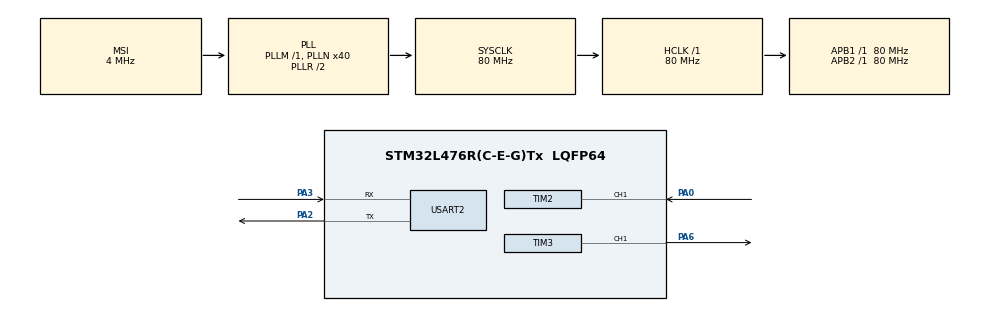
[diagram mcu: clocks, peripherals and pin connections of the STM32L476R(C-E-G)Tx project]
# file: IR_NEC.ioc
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Dma.Request0=TIM3_CH1/TRIG
Dma.TIM3_CH1/TRIG.0.Direction=DMA_MEMORY_TO_PERIPH
Dma.TIM3_CH1/TRIG.0.Instance=DMA1_Channel6
Dma.TIM3_CH1/TRIG.0.MemDataAlignment=DMA_MDATAALIGN_BYTE
Dma.TIM3_CH1/TRIG.0.MemInc=DMA_MINC_ENABLE
Dma.TIM3_CH1/TRIG.0.Mode=DMA_NORMAL
Dma.TIM3_CH1/TRIG.0.PeriphDataAlignment=DMA_PDATAALIGN_HALFWORD
Dma.TIM3_CH1/TRIG.0.PeriphInc=DMA_PINC_DISABLE
Dma.TIM3_CH1/TRIG.0.Priority=DMA_PRIORITY_LOW
Mcu.Family=STM32L4
Mcu.Name=STM32L476R(C-E-G)Tx
Mcu.Package=LQFP64
NVIC.DMA1_Channel6_IRQn=true\:0\:0\:false\:false\:true\:false\:true\:true
NVIC.PriorityGroup=NVIC_PRIORITYGROUP_4
NVIC.TIM2_IRQn=true\:0\:0\:false\:false\:true\:true\:true\:true
PA0.Signal=S_TIM2_CH1
PA13\ (JTMS-SWDIO).Mode=Serial_Wire
PA13\ (JTMS-SWDIO).Signal=SYS_JTMS-SWDIO
PA14\ (JTCK-SWCLK).Mode=Serial_Wire
PA14\ (JTCK-SWCLK).Signal=SYS_JTCK-SWCLK
PA2.Mode=Asynchronous
PA2.Signal=USART2_TX
PA3.Mode=Asynchronous
PA3.Signal=USART2_RX
PA6.Signal=S_TIM3_CH1
ProjectManager.HeapSize=0x200
ProjectManager.StackSize=0x400
ProjectManager.TargetToolchain=STM32CubeIDE
RCC.AHBFreq_Value=80000000
RCC.APB1Freq_Value=80000000
RCC.APB1TimFreq_Value=80000000
RCC.APB2Freq_Value=80000000
RCC.APB2TimFreq_Value=80000000
RCC.CortexFreq_Value=80000000
RCC.HCLKFreq_Value=80000000
RCC.HSE_VALUE=8000000
RCC.HSI_VALUE=16000000
RCC.LSE_VALUE=32768
RCC.MSI_VALUE=4000000
RCC.PLLN=40
RCC.SYSCLKFreq_VALUE=80000000
RCC.SYSCLKSource=RCC_SYSCLKSOURCE_PLLCLK
RCC.VCOOutputFreq_Value=160000000
SH.S_TIM2_CH1.0=TIM2_CH1,TriggerSource_TI1ED
SH.S_TIM2_CH1.1=TIM2_CH1,Input_Capture1_from_TI1
SH.S_TIM3_CH1.0=TIM3_CH1,PWM Generation1 CH1
TIM2.Channel-Input_Capture1_from_TI1=TIM_CHANNEL_1
TIM2.ICPolarity_CH1=TIM_INPUTCHANNELPOLARITY_FALLING
TIM2.Prescaler=79
TIM3.Channel-PWM\ Generation1\ CH1=TIM_CHANNEL_1
TIM3.Period=99
USART2.VirtualMode-Asynchronous=VM_ASYNC
VP_TIM2_VS_ClockSourceINT.Mode=Internal
VP_TIM2_VS_ControllerModeReset.Mode=Reset Mode
VP_TIM3_VS_ClockSourceINT.Mode=Internal
board=custom

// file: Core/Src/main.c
/* USER CODE BEGIN Header */
/**
  ******************************************************************************
  * @file           : main.c
  * @brief          : Main program body
  ******************************************************************************
  * @attention
  *
  * Copyright (c) 2026 STMicroelectronics.
  * All rights reserved.
  *
  * This software is licensed under terms that can be found in the LICENSE file
  * in the root directory of this software component.
  * If no LICENSE file comes with this software, it is provided AS-IS.
  *
  ******************************************************************************
  */
/* USER CODE END Header */
#include "main.h"
#include "dma.h"
#include "tim.h"
#include "usart.h"
#include "gpio.h"

/* USER CODE BEGIN Includes */
#include <stdio.h>
#include "ir.h"
#include "ws2812b.h"
/* USER CODE END Includes */

void SystemClock_Config(void);

/* USER CODE BEGIN 0 */

int __io_putchar(int ch)
{
  if (ch == '\n') {
    __io_putchar('\r');
  }

  HAL_UART_Transmit(&huart2, (uint8_t*)&ch, 1, HAL_MAX_DELAY);

  return 1;
}

void HAL_TIM_IC_CaptureCallback(TIM_HandleTypeDef *htim)
{
  if (htim == &htim2)
  {
    switch (HAL_TIM_GetActiveChannel(&htim2))
    {
      case HAL_TIM_ACTIVE_CHANNEL_1:
        ir_tim_interrupt();
        break;
      default:
        break;
    }
  }
}

/* USER CODE END 0 */

int main(void)
{

  /* MCU Configuration--------------------------------------------------------*/

  /* Reset of all peripherals, Initializes the Flash interface and the Systick. */
  HAL_Init();

  /* Configure the system clock */
  SystemClock_Config();

  /* Initialize all configured peripherals */
  MX_GPIO_Init();
  MX_DMA_Init();
  MX_USART2_UART_Init();
  MX_TIM2_Init();
  MX_TIM3_Init();

  /* Infinite loop */
  /* USER CODE BEGIN WHILE */
  ws2812b_init();
  ir_init();
  while (1)
  {
    int value = ir_read();
    switch (value) {
    case IR_CODE_1:
      ws2812b_set_color(0, 255, 0, 0);
      ws2812b_update();
      break;
    case IR_CODE_2:
      ws2812b_set_color(0, 0, 255, 0);
      ws2812b_update();
      break;
    case IR_CODE_3:
      ws2812b_set_color(0, 0, 0, 255);
      ws2812b_update();
      break;
    case IR_CODE_ONOFF:
      ws2812b_set_color(0, 0, 0, 0);
      ws2812b_update();
      break;
    }
    /* USER CODE END WHILE */

  }
}

void SystemClock_Config(void)
{
  RCC_OscInitTypeDef RCC_OscInitStruct = {0};
  RCC_ClkInitTypeDef RCC_ClkInitStruct = {0};

  /** Configure the main internal regulator output voltage
  */
  if (HAL_PWREx_ControlVoltageScaling(PWR_REGULATOR_VOLTAGE_SCALE1) != HAL_OK)
  {
    Error_Handler();
  }

  /** Initializes the RCC Oscillators according to the specified parameters
  * in the RCC_OscInitTypeDef structure.
  */
  RCC_OscInitStruct.OscillatorType = RCC_OSCILLATORTYPE_MSI;
  RCC_OscInitStruct.MSIState = RCC_MSI_ON;
  RCC_OscInitStruct.MSICalibrationValue = 0;
  RCC_OscInitStruct.MSIClockRange = RCC_MSIRANGE_6;
  RCC_OscInitStruct.PLL.PLLState = RCC_PLL_ON;
  RCC_OscInitStruct.PLL.PLLSource = RCC_PLLSOURCE_MSI;
  RCC_OscInitStruct.PLL.PLLM = 1;
  RCC_OscInitStruct.PLL.PLLN = 40;
  RCC_OscInitStruct.PLL.PLLP = RCC_PLLP_DIV7;
  RCC_OscInitStruct.PLL.PLLQ = RCC_PLLQ_DIV2;
  RCC_OscInitStruct.PLL.PLLR = RCC_PLLR_DIV2;
  if (HAL_RCC_OscConfig(&RCC_OscInitStruct) != HAL_OK)
  {
    Error_Handler();
  }

  /** Initializes the CPU, AHB and APB buses clocks
  */
  RCC_ClkInitStruct.ClockType = RCC_CLOCKTYPE_HCLK|RCC_CLOCKTYPE_SYSCLK
                              |RCC_CLOCKTYPE_PCLK1|RCC_CLOCKTYPE_PCLK2;
  RCC_ClkInitStruct.SYSCLKSource = RCC_SYSCLKSOURCE_PLLCLK;
  RCC_ClkInitStruct.AHBCLKDivider = RCC_SYSCLK_DIV1;
  RCC_ClkInitStruct.APB1CLKDivider = RCC_HCLK_DIV1;
  RCC_ClkInitStruct.APB2CLKDivider = RCC_HCLK_DIV1;

  if (HAL_RCC_ClockConfig(&RCC_ClkInitStruct, FLASH_LATENCY_4) != HAL_OK)
  {
    Error_Handler();
  }
}

void Error_Handler(void)
{
  __disable_irq();
  while (1)
  {
  }
}
